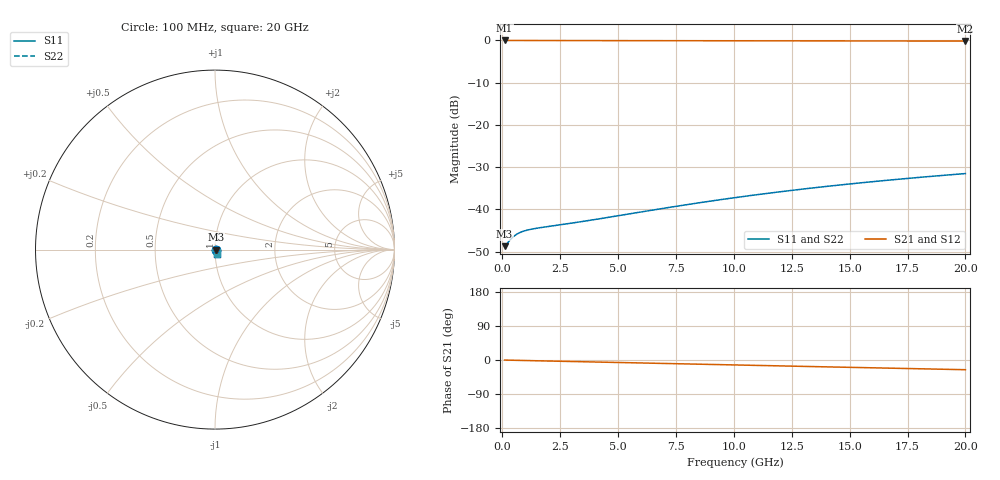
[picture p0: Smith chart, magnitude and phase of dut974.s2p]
! Touchstone file exported from HFSS 2026.1.0
!  File:  C:/ffzhzh/LocalFiles/Ansys_Project_Files/temp_train_BSMRDL_974_1783172642_18472.aedt
!  Generated:  09:45:11 PM Jul  4, 2026
!  Design:  BSMRDL
!  Project:  temp_train_BSMRDL_974_1783172642_18472
! Variables:
!  h_bsmrdl = 3.57um
!  h_ox = 20um
!  h_rdl = 5um
!  h_sub = 80um
!  h_tmrdl = 5um
!  h_tsv = 80um
!  h_via = 3um
!  l_bsmrdl = 462.34um
!  l_sub = 862.34um
!  l_tmrdl = 200um
!  m_sub = 200um
!  pitch = 15.9um
!  r_tsv = 6um
!  s_tmrdl = 10um
!  w_bsmrdl = 13.08um
!  w_sub = 500um
!  w_tmrdl = 12um
!  x_tsv_center1 = 206um
!  x_tsv_center2 = 681.42um
!  x_tsv_center3 = 893.42um
!  x_tsv_center4 = 1368.84um
!  x_tsv_center5 = 1580.84um
!  x_tsv_center6 = 2056.26um
# GHz S MA R 50.000000
! Terminal data exported
! Port[1] = BSM_RDL1_1_T1
! Port[2] = BSM_RDL1_1_T2
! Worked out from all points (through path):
!   200 points, 100 MHz to 20 GHz, reference 50 ohm
!   highest |S21| = -0.03 dB at 100 MHz (marker M1); lowest = -0.2 dB at 20 GHz (marker M2)
!   group delay of S21, straight-line fit = 3.54 ps
!   lowest |S11| = -48.7 dB at 100 MHz (marker M3), VSWR 1.01, Z = 50.4 + j0.0408 ohm
!   |S11| at or under -10 dB: start of sweep to end of sweep
!   |S22| runs from -48.7 to -31.5 dB; largest |S21 - S12| = 3.6e-15
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0.1  0.003682 6.3  0.9963 -0.2  0.9963 -0.2  0.003682 6.3
! Gamma 0 0 0 0
! Port Impedance 50 0 50 0
0.2  0.00393 10.9  0.9961 -0.3  0.9961 -0.3  0.00393 10.9
0.3  0.004243 13.2  0.9959 -0.5  0.9959 -0.5  0.004243 13.2
0.4  0.004551 14.0  0.9956 -0.6  0.9956 -0.6  0.004551 14.0
0.5  0.004823 13.8  0.9953 -0.7  0.9953 -0.7  0.004823 13.8
0.6  0.005051 13.1  0.9951 -0.9  0.9951 -0.9  0.005051 13.1
0.7  0.005238 12.1  0.9949 -1.0  0.9949 -1.0  0.005239 12.1
0.8  0.005393 11.1  0.9947 -1.1  0.9947 -1.1  0.005393 11.1
0.9  0.005521 10.2  0.9946 -1.3  0.9946 -1.3  0.005521 10.2
1  0.005629 9.2  0.9945 -1.4  0.9945 -1.4  0.005629 9.2
1.2  0.005805 7.5  0.9943 -1.7  0.9943 -1.7  0.005805 7.5
1.5  0.006012 5.4  0.994 -2.0  0.994 -2.0  0.006012 5.4
3.5  0.007236 -4.6  0.9928 -4.7  0.9928 -4.7  0.007238 -4.6
6.8  0.01015 -20.3  0.99 -9.0  0.99 -9.0  0.01016 -20.3
8.5  0.012 -28.4  0.9885 -11.2  0.9885 -11.2  0.01201 -28.4
10.1  0.01386 -35.6  0.987 -13.2  0.987 -13.2  0.01388 -35.6
11.7  0.01582 -42.3  0.9857 -15.2  0.9857 -15.2  0.01584 -42.3
13.4  0.01797 -48.9  0.9844 -17.4  0.9844 -17.4  0.018 -48.8
15  0.02003 -54.5  0.9832 -19.4  0.9832 -19.4  0.02006 -54.5
16.7  0.02225 -60.1  0.982 -21.5  0.982 -21.5  0.02229 -60.0
18.3  0.02434 -64.9  0.981 -23.5  0.981 -23.5  0.02439 -64.8
20  0.02658 -69.6  0.9799 -25.6  0.9799 -25.6  0.02663 -69.6
